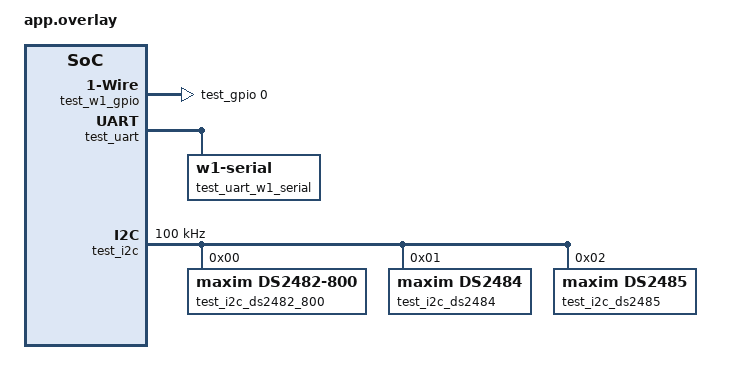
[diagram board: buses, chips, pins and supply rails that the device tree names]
/*
 * Copyright (c) 2023 Hudson C. Dalpra
 *
 * SPDX-License-Identifier: Apache-2.0
 *
 * Application overlay for testing driver builds
 *
 * Names in this file should be chosen in a way that won't conflict
 * with real-world devicetree nodes, to allow these tests to run on
 * (and be extended to test) real hardware.
 */

/ {
	test {
		#address-cells = <1>;
		#size-cells = <1>;

		test_gpio: gpio@deadbeef {
			compatible = "vnd,gpio";
			gpio-controller;
			reg = <0xdeadbeef 0x1000>;
			#gpio-cells = <0x2>;
			status = "okay";
		};

		test_w1_gpio: test_w1_gpio {
			compatible = "zephyr,w1-gpio";
			gpios = <&test_gpio 0 0>;
		};

		test_uart: uart@55556666 {
			compatible = "vnd,serial";
			reg = <0x55556666 0x1000>;
			status = "okay";

			#address-cells = <1>;
			#size-cells = <0>;

			test_uart_w1_serial: w1_serial {
				compatible = "zephyr,w1-serial";
			};
		};

		test_i2c: i2c@11112222 {
			#address-cells = <1>;
			#size-cells = <0>;
			compatible = "vnd,i2c";
			reg = <0x11112222 0x1000>;
			status = "okay";
			clock-frequency = <100000>;

			test_i2c_ds2482_800: ds2482-800@0 {
				compatible = "maxim,ds2482-800";
				reg = <0x0>;

				#address-cells = <1>;
				#size-cells = <0>;

				w1_0: ch@0 {
					compatible = "maxim,ds2482-800-channel";
					reg = <0>;
				};
			};

			test_i2c_ds2484: ds2484@1 {
				compatible = "maxim,ds2484";
				reg = <0x1>;
			};

			test_i2c_ds2485: ds2485@2 {
				compatible = "maxim,ds2485";
				reg = <0x2>;

				switching-threshold = "low";
				active-pull-threshold = "low";
				weak-pullup = "1000";
			};
		};
	};
};
